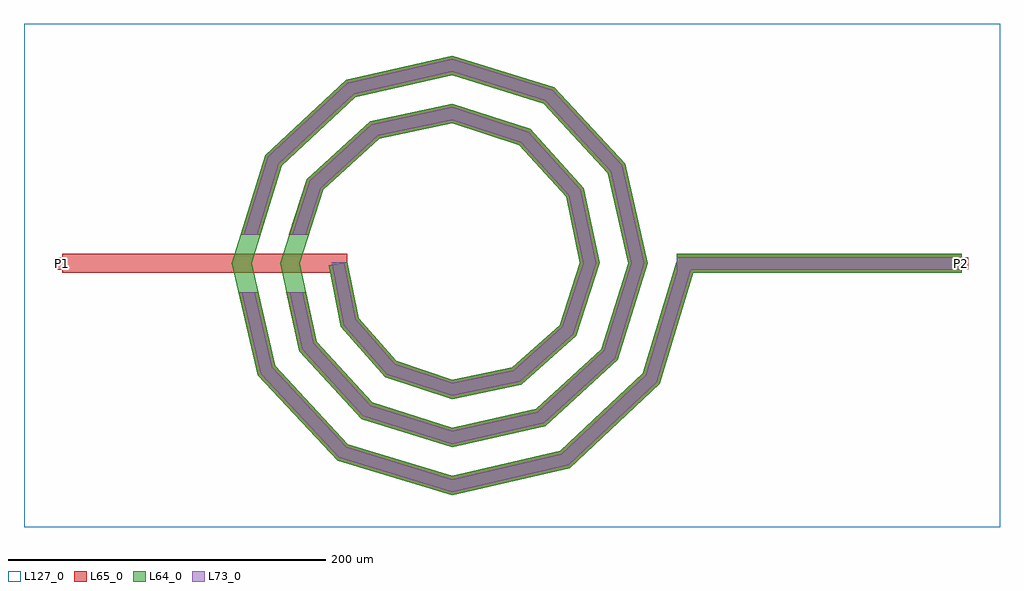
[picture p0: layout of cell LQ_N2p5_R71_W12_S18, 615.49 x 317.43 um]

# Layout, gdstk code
import gdstk
lib = gdstk.Library(unit=1e-6, precision=1e-09)
def R(c, l, rs):  # rectangles x0, y0, x1, y1
    for r in rs: c.add(gdstk.rectangle(r[:2], r[2:], *l))
def P(c, l, *ps):  # polygons
    for p in ps: c.add(gdstk.Polygon(p, *l))
L64_0 = (64, 0)
L65_0 = (65, 0)
L73_0 = (73, 0)
L127_0 = (127, 0)

lq_n2p5_r71_w12_s18 = lib.new_cell('LQ_N2p5_R71_W12_S18')
R(lq_n2p5_r71_w12_s18, L64_0, [(141.678,-6,321.678,6)])
P(lq_n2p5_r71_w12_s18, L64_0, [(-58.818,-34.413),(-35.006,-61.394),(0.369,-73.2),(38.174,-65.404),(67.945,-38.828),(80.785,0.337),(71.988,41.94),(42.645,74.5),(0.31,88.37),(-45.71,78.569),(-81.057,46.459),(-95.955,0.287),(-85.149,-49.484),(-50.269,-87.616),(0.267,-103.541),(53.26,-91.728),(94.176,-54.078),(111.126,0.25),(98.306,57.039),(57.884,100.737),(0.235,118.712),(-60.819,104.882),(-107.3,61.689),(-126.298,0.221),(-111.458,-64.601),(-65.493,-113.863),(0.209,-133.884),(68.384,-118.034),(120.427,-69.296),(141.936,1.739),(153.421,-1.739),(130.979,-75.854),(74.237,-128.993),(0.209,-146.301),(-72.07,-124.404),(-122.429,-70.434),(-138.714,0.221),(-117.827,68.288),(-66.629,115.865),(0.235,131.128),(64.507,111.25),(109.302,62.823),(123.541,0.25),(104.672,-60.727),(59.016,-102.74),(0.267,-115.954),(-56.949,-98.092),(-96.179,-55.206),(-108.367,0.287),(-91.511,53.174),(-51.393,89.619),(0.31,100.78),(49.401,84.929),(83.061,47.578),(93.192,0.337),(78.343,-45.632),(43.758,-76.505),(0.369,-85.605),(-41.867,-71.755),(-69.952,-39.932),(-77.7,-1.176),(-65.933,1.176)])
R(lq_n2p5_r71_w12_s18, L65_0, [(-245.816,-6,-65.816,6), (141.678,-6,321.678,6), (-249.816,-4,-241.816,4), (317.678,-4,325.678,4)])
P(lq_n2p5_r71_w12_s18, L65_0, [(-111.458,-64.601),(-65.493,-113.863),(0.209,-133.884),(68.384,-118.034),(120.427,-69.296),(141.936,1.739),(153.421,-1.739),(130.979,-75.854),(74.237,-128.993),(0.209,-146.301),(-72.07,-124.404),(-122.429,-70.434),(-134.514,-18),(-122.2,-18)],
  [(-85.149,-49.484),(-50.269,-87.616),(0.267,-103.541),(53.261,-91.728),(94.176,-54.078),(111.126,0.25),(98.306,57.039),(57.884,100.737),(0.235,118.712),(-60.819,104.882),(-107.3,61.689),(-120.706,18),(-133.259,18),(-117.827,68.288),(-66.629,115.865),(0.235,131.128),(64.507,111.25),(109.302,62.823),(123.541,0.25),(104.672,-60.727),(59.016,-102.74),(0.267,-115.954),(-56.949,-98.092),(-96.179,-55.206),(-104.351,-18),(-92.065,-18)],
  [(-35.006,-61.394),(0.369,-73.2),(38.174,-65.404),(67.946,-38.828),(80.785,0.337),(71.988,41.94),(42.645,74.5),(0.31,88.37),(-45.71,78.569),(-81.057,46.459),(-90.127,18),(-102.722,18),(-91.512,53.174),(-51.393,89.619),(0.31,100.78),(49.401,84.929),(83.061,47.578),(93.193,0.337),(78.343,-45.632),(43.758,-76.505),(0.369,-85.605),(-41.867,-71.755),(-69.952,-39.932),(-77.7,-1.176),(-65.933,1.176),(-58.818,-34.413)])
R(lq_n2p5_r71_w12_s18, L73_0, [(141.678,-4,321.678,4)])
P(lq_n2p5_r71_w12_s18, L73_0, [(-113.287,-65.573),(-66.589,-115.62),(0.139,-135.953),(69.36,-119.86),(122.186,-70.389),(143.85,1.159),(151.507,-1.159),(129.221,-74.761),(73.261,-127.166),(0.139,-144.231),(-70.974,-122.647),(-120.6,-69.462),(-132.462,-18),(-124.252,-18)],
  [(-86.988,-50.438),(-51.383,-89.362),(0.178,-105.61),(54.22,-93.563),(95.925,-55.186),(113.195,0.166),(100.138,58.003),(58.988,102.49),(0.156,120.781),(-61.788,106.713),(-109.054,62.789),(-122.798,18),(-131.167,18),(-116.073,67.188),(-65.661,114.034),(0.156,129.058),(63.403,109.498),(107.469,61.859),(121.472,0.166),(102.923,-59.619),(58.056,-100.905),(0.178,-113.885),(-55.836,-96.346),(-94.341,-54.252),(-102.303,-18),(-94.112,-18)],
  [(-36.15,-63.121),(0.246,-75.268),(39.104,-67.254),(69.679,-39.962),(82.853,0.224),(73.833,42.88),(43.771,76.238),(0.206,90.438),(-46.658,80.411),(-82.799,47.578),(-92.226,18),(-100.623,18),(-89.769,52.055),(-50.446,87.777),(0.206,98.712),(48.275,83.191),(81.215,46.638),(91.125,0.224),(76.61,-44.498),(42.827,-74.655),(0.246,-83.537),(-40.724,-70.028),(-68.096,-39.012),(-75.739,0.784),(-67.894,0.784),(-60.673,-35.333)])
R(lq_n2p5_r71_w12_s18, L127_0, [(-269.816,-166.301,345.678,151.128)])
lq_n2p5_r71_w12_s18.add(gdstk.Label('P2', (321.678,0), layer=65, texttype=0))
lq_n2p5_r71_w12_s18.add(gdstk.Label('P1', (-245.816,0), layer=65, texttype=0))
lq_n2p5_r71_w12_s18.add(gdstk.Label('P2', (325.678,0), layer=145, texttype=0))
lq_n2p5_r71_w12_s18.add(gdstk.Label('P1', (-249.816,0), layer=145, texttype=0))

lib.write_gds('LQ_N2p5_R71_W12_S18.gds')
